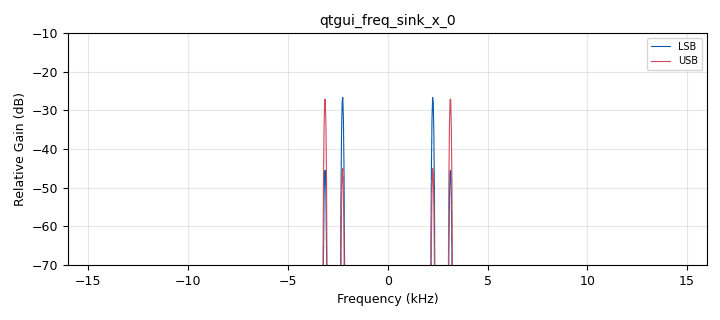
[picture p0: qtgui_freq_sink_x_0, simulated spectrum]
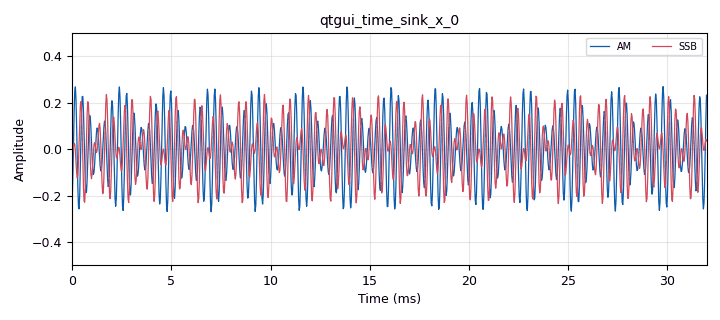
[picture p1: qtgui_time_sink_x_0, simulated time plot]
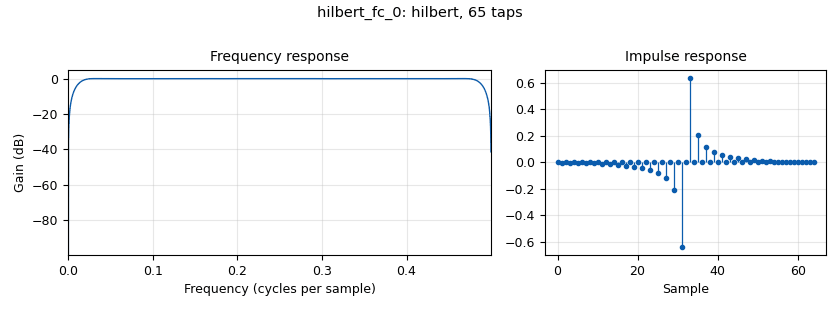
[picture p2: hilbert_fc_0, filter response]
options:
  parameters:
    generate_options: qt_gui
    id: ex2_15
    output_language: python
    title: Figure 2.21 USB/LSB/DSB of AM modulation
  states: {}

blocks:
- name: samp_rate
  id: variable
  parameters:
    value: '32000'
  states: {}
- name: analog_sig_source_x_0
  id: analog_sig_source_x
  parameters:
    amp: '0.3'
    comment: broadcast signal
    freq: '440'
    offset: '0'
    phase: '0'
    samp_rate: samp_rate
    type: float
    waveform: analog.GR_COS_WAVE
  states: {}
- name: analog_sig_source_x_1
  id: analog_sig_source_x
  parameters:
    amp: '1'
    comment: carrier
    freq: '2700'
    offset: '0'
    phase: '0'
    samp_rate: samp_rate
    type: complex
    waveform: analog.GR_COS_WAVE
  states: {}
- name: blocks_add_const_vxx_0
  id: blocks_add_const_vxx
  parameters:
    comment: Doube Side Band (DSB) AM modulaltion path
    const: '.6'
    type: float
  states: {}
- name: blocks_add_xx_0
  id: blocks_add_xx
  parameters:
    type: float
  states: {}
- name: blocks_add_xx_0_0
  id: blocks_add_xx
  parameters:
    type: float
  states: {}
- name: blocks_complex_to_float_1
  id: blocks_complex_to_float
  parameters: {}
  states: {}
- name: blocks_complex_to_float_1_0
  id: blocks_complex_to_float
  parameters: {}
  states: {}
- name: blocks_multiply_const_vxx_0
  id: blocks_multiply_const_vxx
  parameters:
    const: '.3'
    type: float
  states: {}
- name: blocks_multiply_xx_0
  id: blocks_multiply_xx
  parameters:
    type: float
  states: {}
- name: blocks_multiply_xx_0_0
  id: blocks_multiply_xx
  parameters:
    type: float
  states: {}
- name: blocks_multiply_xx_0_0_0
  id: blocks_multiply_xx
  parameters:
    type: float
  states: {}
- name: blocks_multiply_xx_0_1
  id: blocks_multiply_xx
  parameters:
    type: float
  states: {}
- name: blocks_multiply_xx_0_2
  id: blocks_multiply_xx
  parameters:
    type: float
  states: {}
- name: blocks_throttle2_0
  id: blocks_throttle2
  parameters:
    comment: SSB (USB top, LSB bottom) AM modulation path
    samples_per_second: samp_rate
    type: complex
  states: {}
- name: hilbert_fc_0
  id: hilbert_fc
  parameters:
    num_taps: '65'
  states: {}
- name: qtgui_freq_sink_x_0
  id: qtgui_freq_sink_x
  parameters:
    bw: samp_rate
    fc: '0'
    fftsize: '1024'
    label1: LSB
    label2: USB
    nconnections: '2'
    type: float
    ymax: '-10'
    ymin: '-70'
  states: {}
- name: qtgui_time_sink_x_0
  id: qtgui_time_sink_x
  parameters:
    label1: AM
    label2: SSB
    nconnections: '2'
    size: '1024'
    srate: samp_rate
    type: float
    ymax: '.5'
    ymin: '-.5'
  states: {}

connections:
- [analog_sig_source_x_0, '0', blocks_add_const_vxx_0, '0']
- [analog_sig_source_x_0, '0', hilbert_fc_0, '0']
- [analog_sig_source_x_1, '0', blocks_throttle2_0, '0']
- [blocks_add_const_vxx_0, '0', blocks_multiply_const_vxx_0, '0']
- [blocks_add_xx_0, '0', qtgui_freq_sink_x_0, '0']
- [blocks_add_xx_0_0, '0', qtgui_freq_sink_x_0, '1']
- [blocks_complex_to_float_1, '0', blocks_multiply_xx_0, '0']
- [blocks_complex_to_float_1, '0', blocks_multiply_xx_0_0_0, '0']
- [blocks_complex_to_float_1, '1', blocks_multiply_xx_0_0, '0']
- [blocks_complex_to_float_1, '1', blocks_multiply_xx_0_1, '1']
- [blocks_complex_to_float_1_0, '0', blocks_multiply_xx_0, '1']
- [blocks_complex_to_float_1_0, '0', blocks_multiply_xx_0_1, '0']
- [blocks_complex_to_float_1_0, '0', blocks_multiply_xx_0_2, '1']
- [blocks_complex_to_float_1_0, '1', blocks_multiply_xx_0_0, '1']
- [blocks_complex_to_float_1_0, '1', blocks_multiply_xx_0_0_0, '1']
- [blocks_multiply_const_vxx_0, '0', blocks_multiply_xx_0_2, '0']
- [blocks_multiply_xx_0, '0', blocks_add_xx_0, '0']
- [blocks_multiply_xx_0_0, '0', blocks_add_xx_0, '1']
- [blocks_multiply_xx_0_0, '0', qtgui_time_sink_x_0, '1']
- [blocks_multiply_xx_0_0_0, '0', blocks_add_xx_0_0, '1']
- [blocks_multiply_xx_0_1, '0', blocks_add_xx_0_0, '0']
- [blocks_multiply_xx_0_2, '0', qtgui_time_sink_x_0, '0']
- [blocks_throttle2_0, '0', blocks_complex_to_float_1_0, '0']
- [hilbert_fc_0, '0', blocks_complex_to_float_1, '0']

metadata:
  file_format: 1
  grc_version: 3.10.9.2
